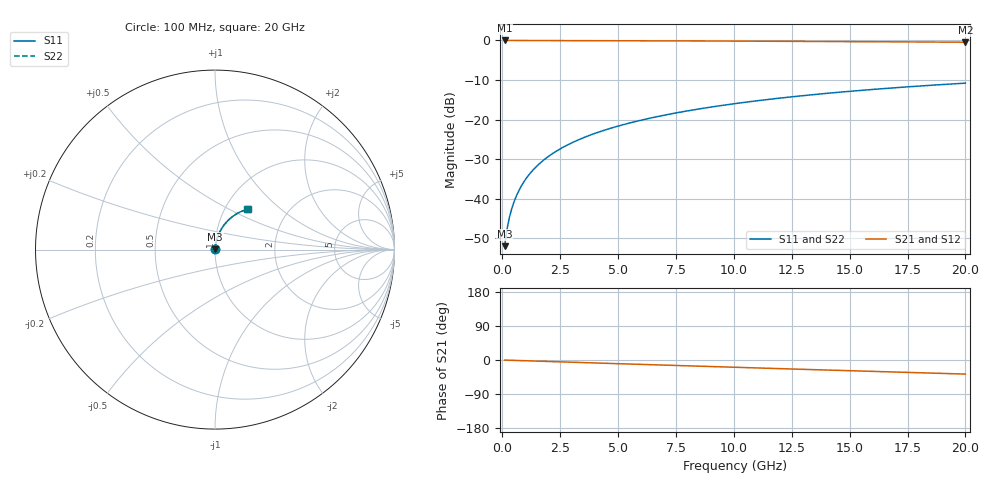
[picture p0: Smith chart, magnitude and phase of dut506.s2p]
! Touchstone file exported from HFSS 2026.1.0
!  File:  C:/ffzhzh/LocalFiles/Ansys_Project_Files/temp_train_TMRDL_506_1783006815_4048.aedt
!  Generated:  11:41:40 PM Jul  2, 2026
!  Design:  TMRDL
!  Project:  temp_train_TMRDL_506_1783006815_4048
! Variables:
!  h_bsmrdl = 2um
!  h_ox = 20um
!  h_rdl = 5um
!  h_sub = 80um
!  h_tmrdl = 5.76um
!  h_tsv = 80um
!  h_via = 3um
!  l_bsmrdl = 300um
!  l_sub = 974.42um
!  l_tmrdl = 574.42um
!  m_sub = 200um
!  pitch = 47.15um
!  r_tsv = 6um
!  s_tmrdl = 10um
!  w_bsmrdl = 18um
!  w_sub = 500um
!  w_tmrdl = 24.53um
!  x_tsv_center1 = 586.685um
!  x_tsv_center2 = 904.685um
!  x_tsv_center3 = 1503.635um
!  x_tsv_center4 = 1821.635um
!  x_tsv_center5 = 2420.585um
!  x_tsv_center6 = 2738.585um
# GHz S MA R 50.000000
! Terminal data exported
! Port[1] = TM_RDL1_1_T1
! Port[2] = TM_RDL1_1_T2
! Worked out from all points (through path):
!   200 points, 100 MHz to 20 GHz, reference 50 ohm
!   highest |S21| = -0.01 dB at 100 MHz (marker M1); lowest = -0.5 dB at 20 GHz (marker M2)
!   group delay of S21, straight-line fit = 5.16 ps
!   lowest |S11| = -52.0 dB at 100 MHz (marker M3), VSWR 1.01, Z = 50.2 + j0.19 ohm
!   |S11| at or under -10 dB: start of sweep to end of sweep
!   |S22| runs from -52.0 to -10.8 dB; largest |S21 - S12| = 3.3e-15
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0.1  0.002504 49.3  0.9984 -0.2  0.9984 -0.2  0.002504 49.3
! Gamma 0 0 0 0
! Port Impedance 50 0 50 0
0.2  0.004065 63.9  0.9982 -0.4  0.9982 -0.4  0.004065 63.9
0.3  0.005678 70.3  0.9981 -0.6  0.9981 -0.6  0.005678 70.3
0.4  0.00732 74.1  0.9981 -0.8  0.9981 -0.8  0.00732 74.1
0.5  0.008983 76.4  0.998 -1.0  0.998 -1.0  0.008983 76.4
0.7  0.01235 79.1  0.9979 -1.4  0.9979 -1.4  0.01235 79.1
0.8  0.01404 79.9  0.9978 -1.6  0.9978 -1.6  0.01404 79.9
1  0.01743 80.8  0.9977 -2.0  0.9977 -2.0  0.01743 80.8
1.2  0.02082 81.3  0.9975 -2.4  0.9975 -2.4  0.02082 81.3
1.4  0.0242 81.5  0.9973 -2.8  0.9973 -2.8  0.0242 81.5
1.7  0.02925 81.5  0.997 -3.4  0.997 -3.4  0.02925 81.5
2  0.03426 81.3  0.9966 -4.0  0.9966 -4.0  0.03426 81.3
2.7  0.04581 80.5  0.9956 -5.3  0.9956 -5.3  0.04581 80.5
3.5  0.05878 79.3  0.9943 -6.9  0.9943 -6.9  0.05878 79.3
4.2  0.06996 78.2  0.9931 -8.2  0.9931 -8.2  0.06996 78.2
5  0.08258 76.9  0.9917 -9.7  0.9917 -9.7  0.08258 76.9
6.8  0.1104 73.8  0.9881 -13.2  0.9881 -13.2  0.1104 73.8
8.3  0.1331 71.3  0.9847 -16.0  0.9847 -16.0  0.1331 71.3
10.1  0.1596 68.1  0.9801 -19.3  0.9801 -19.3  0.1596 68.2
13.4  0.2059 62.4  0.9706 -25.4  0.9706 -25.4  0.2059 62.4
16.7  0.2488 56.7  0.9599 -31.4  0.9599 -31.4  0.2488 56.7
20  0.2881 51.0  0.9484 -37.2  0.9484 -37.2  0.2881 51.1
